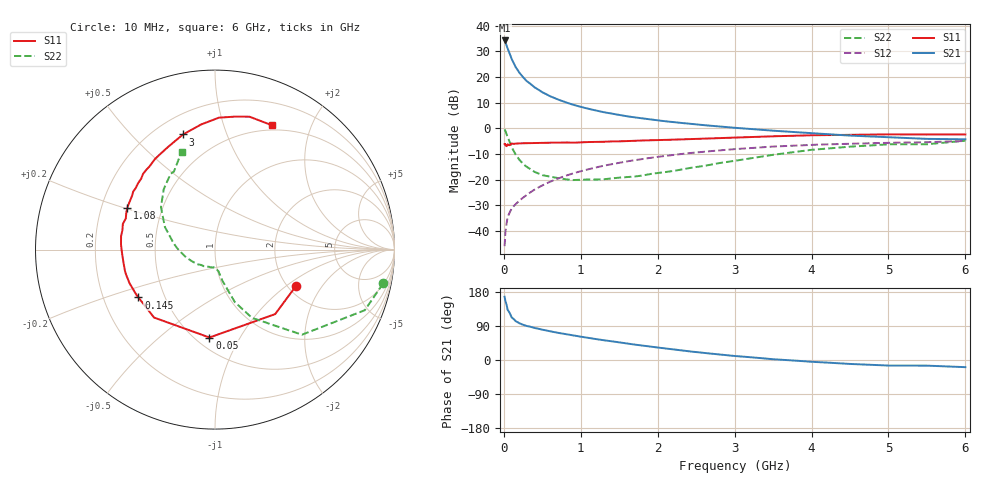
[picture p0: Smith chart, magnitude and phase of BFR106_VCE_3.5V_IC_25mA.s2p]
! Infineon Technologies  Discrete & RF Semiconductors
! BFR106
! VCE =  3.5 V,  IC =  25 mA
! Common Emitter S-Parameters:  Nov 2015
# GHz  S  MA  R  50
!  f  S11  S21  S12  S22
! GHz  MAG  ANG  MAG  ANG  MAG  ANG  MAG  ANG
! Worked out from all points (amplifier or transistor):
!   210 points, 10 MHz to 6 GHz, reference 50 ohm
!   highest |S21| = 34.2 dB at 10 MHz (marker M1)
!   |S21| within 3 dB of that: start of sweep to 47.87 MHz
!   unconditionally stable (mu >= 1): 344 MHz to 2.249 GHz; 5.492 GHz to 5.973 GHz
!   at 185 MHz: K = 0.82, MSG = 25.5 dB, |S12| = -28.6 dB
!   at 1.52 GHz: K = 1.05, MAG = 7.8 dB, |S12| = -13.3 dB
!   at 6 GHz: K = 1.00, MSG = 0.3 dB, |S12| = -4.9 dB
!   S11 on the Smith chart (normalised r, x): 10 MHz: 2.20, -1.19; 50 MHz: 0.58, -0.75; 145 MHz: 0.35, -0.25; 1.08 GHz: 0.31, +0.21; 3 GHz: 0.31, +0.71; 6 GHz: 0.44, +1.46
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0.01  0.4944 -24.4  51.47 166.9  0.0051 83.6  0.9552 -11.4
0.02  0.4914 -47.0  48.41 156.1  0.0095 74.9  0.9008 -22.0
0.05  0.4907 -93.6  35.78 131.9  0.0188 59.7  0.6778 -44.4
0.1  0.5086 -131.9  22.58 112.7  0.0273 54.9  0.4331 -61.5
0.145  0.5032 -148.0  16.5 104.1  0.0325 56.4  0.3245 -68.3
0.15  0.5051 -149.8  15.86 102.8  0.0331 56.5  0.3128 -69.3
0.2  0.5117 -158.5  12.23 97.1  0.0388 59.2  0.2466 -71.9
0.26  0.5156 -166.5  9.539 92.2  0.0461 61.2  0.1973 -75.0
0.3  0.515 -170.3  8.278 89.6  0.051 63.2  0.1778 -76.7
0.4  0.5186 -177.7  6.29 84.5  0.0644 65.6  0.1424 -79.3
0.5  0.5244 176.9  5.053 79.9  0.0775 66.9  0.1231 -80.7
0.6  0.5286 171.9  4.236 75.7  0.0914 67.3  0.1145 -83.3
0.8  0.5331 164.4  3.224 68.3  0.1192 66.8  0.1019 -90.8
1.02  0.5372 156.4  2.576 60.9  0.1493 65.1  0.1003 -98.5
1.08  0.5411 154.4  2.447 59.0  0.1575 64.6  0.101 -101.9
1.58  0.5645 139.9  1.743 44.1  0.2251 58.6  0.1122 -125.8
2.02  0.5911 127.8  1.421 32.4  0.2815 52.4  0.1366 -148.1
3  0.6658 105.5  1.028 10.6  0.3946 37.7  0.2337 171.2
3.1  0.6715 103.6  1.001 9.1  0.4036 36.0  0.2465 167.4
4.1  0.7374 86.9  0.788 -5.7  0.4841 20.8  0.393 139.3
5.1  0.7634 74.2  0.662 -14.7  0.5271 7.7  0.4897 119.8
6  0.7614 65.4  0.613 -18.9  0.5698 -2.2  0.5756 108.8
